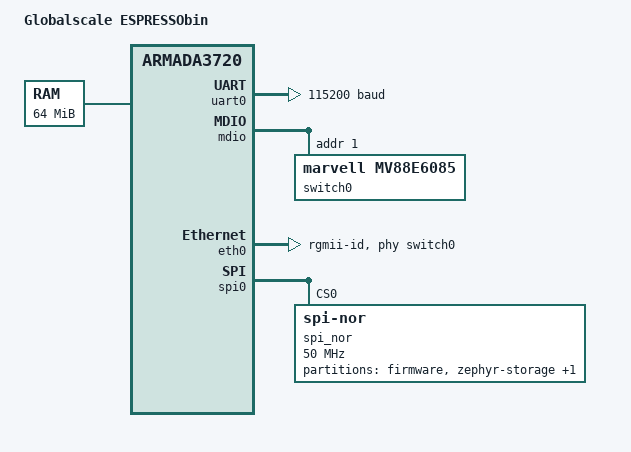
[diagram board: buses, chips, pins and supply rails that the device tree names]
/*
 * Copyright (c) 2026 Jiri Kastner
 *
 * SPDX-License-Identifier: Apache-2.0
 *
 * Globalscale ESPRESSObin (v5, DDR3 1 GiB 2CS). Zephyr is the BL33 of
 * TF-A (PLAT=a3700), loaded at DRAM base. TF-A itself lives at
 * 0x04000000-0x05000000.
 */

#include <freq.h>
#include <marvell/armada3720.dtsi>

/ {
	model = "Globalscale ESPRESSObin";
	compatible = "globalscale,espressobin", "marvell,armada3720";

	chosen {
		zephyr,sram = &ddr0;
		zephyr,console = &uart0;
		zephyr,shell-uart = &uart0;
	};

	cpus {
		timebase-frequency = <DT_FREQ_M(25)>;
	};

	ddr0: memory@0 {
		device_type = "memory";
		reg = <0x00000000 DT_SIZE_M(64)>;
	};
};

/* micro-USB J5 through the on-board FTDI */
&uart0 {
	status = "okay";
	current-speed = <115200>;
	pinctrl-0 = <&uart0_default>;
	pinctrl-names = "default";
};

/*
 * eth0 -- RGMII-ID, fixed 1000/full -- 88E6341 port 0 (CPU)
 * 88E6341 at SMI address 1 (multi-chip), ports 1 (wan), 2 (lan0),
 * 3 (lan1). Without DSA tagging all three behave as one interface.
 */
&mdio {
	status = "okay";
	pinctrl-0 = <&mdio_default>;
	pinctrl-names = "default";

	switch0: ethernet-switch@1 {
		compatible = "marvell,mv88e6085";
		reg = <1>;
		marvell,cpu-port = <0>;
		marvell,user-ports = [01 02 03];
	};
};

&eth0 {
	status = "okay";
	pinctrl-0 = <&eth0_default>;
	pinctrl-names = "default";
	phy-connection-type = "rgmii-id";
	phy-handle = <&switch0>;
	/* the board MAC is in the U-Boot environment only */
	zephyr,random-mac-address;
};

/* Boot flash: Winbond W25Q32DW, 4 MiB, 1.8 V */
&spi0 {
	status = "okay";
	pinctrl-0 = <&spi0_default>;
	pinctrl-names = "default";

	spi_nor: flash@0 {
		compatible = "jedec,spi-nor";
		reg = <0>;
		spi-max-frequency = <DT_FREQ_M(50)>;
		size = <DT_SIZE_M(32)>; /* bits */
		jedec-id = [ef 60 16];

		partitions {
			compatible = "fixed-partitions";
			#address-cells = <1>;
			#size-cells = <1>;

			/* TIM + WTMI + TF-A + FIP with Zephyr (mkflash.sh output) */
			boot_partition: partition@0 {
				label = "firmware";
				reg = <0x0 0x3e0000>;
			};

			/* Zephyr settings, kept apart from the U-Boot environment */
			storage_partition: partition@3e0000 {
				label = "zephyr-storage";
				reg = <0x3e0000 0x10000>;
			};

			/* U-Boot environment of the stock/upstream U-Boot */
			env_partition: partition@3f0000 {
				label = "u-boot-env";
				reg = <0x3f0000 0x10000>;
			};
		};
	};
};
